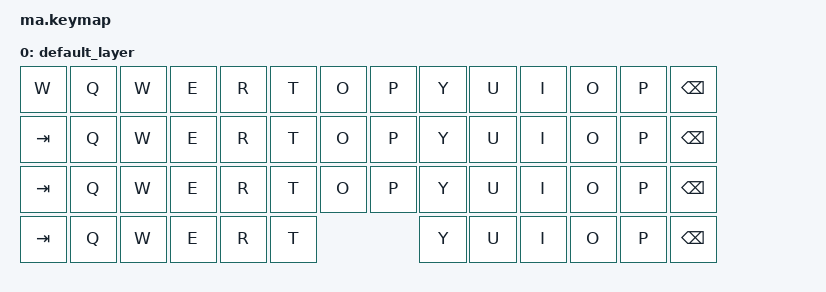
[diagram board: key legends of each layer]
/*
 * Copyright (c) 2020 The ZMK Contributors
 *
 * SPDX-License-Identifier: MIT
 */

#include <behaviors.dtsi>
#include <dt-bindings/zmk/keys.h>
#include <dt-bindings/zmk/bt.h>

/ {
        keymap {
                compatible = "zmk,keymap";

                default_layer {
// -----------------------------------------------------------------------------------------
// |  W   |  Q  |  W  |  E  |  R  |  T  |  O  |   |  P  |  Y  |  U   |  I  |  O  |  P  | BSPC |  Y  |
// |  TAB |  Q  |  W  |  E  |  R  |  T  |  O  |   |  P  |  Y  |  U   |  I  |  O  |  P  | BSPC |  Y  |
// |  TAB |  Q  |  W  |  E  |  R  |  T  |  O  |   |  P  |  Y  |  U   |  I  |  O  |  P  | BSPC |  Y  |
// |  TAB |  Q  |  W  |  E  |  R  |  T  |               |  Y  |  U   |  I  |  O  |  P  | BSPC |  Y  |
                        bindings = <
   &kp W     &kp Q &kp W &kp E &kp R &kp T &kp O    &kp P  &kp Y &kp U  &kp I   &kp O   &kp P    &kp BSPC
   &kp TAB   &kp Q &kp W &kp E &kp R &kp T &kp O    &kp P  &kp Y &kp U  &kp I   &kp O   &kp P    &kp BSPC
   &kp TAB   &kp Q &kp W &kp E &kp R &kp T &kp O    &kp P  &kp Y &kp U  &kp I   &kp O   &kp P    &kp BSPC
   &kp TAB   &kp Q &kp W &kp E &kp R &kp T                 &kp Y &kp U  &kp I   &kp O   &kp P    &kp BSPC

                        >;
                };
                lower_layer {

                        >;
                };

                raise_layer {

                        >;
                };
        };
};
